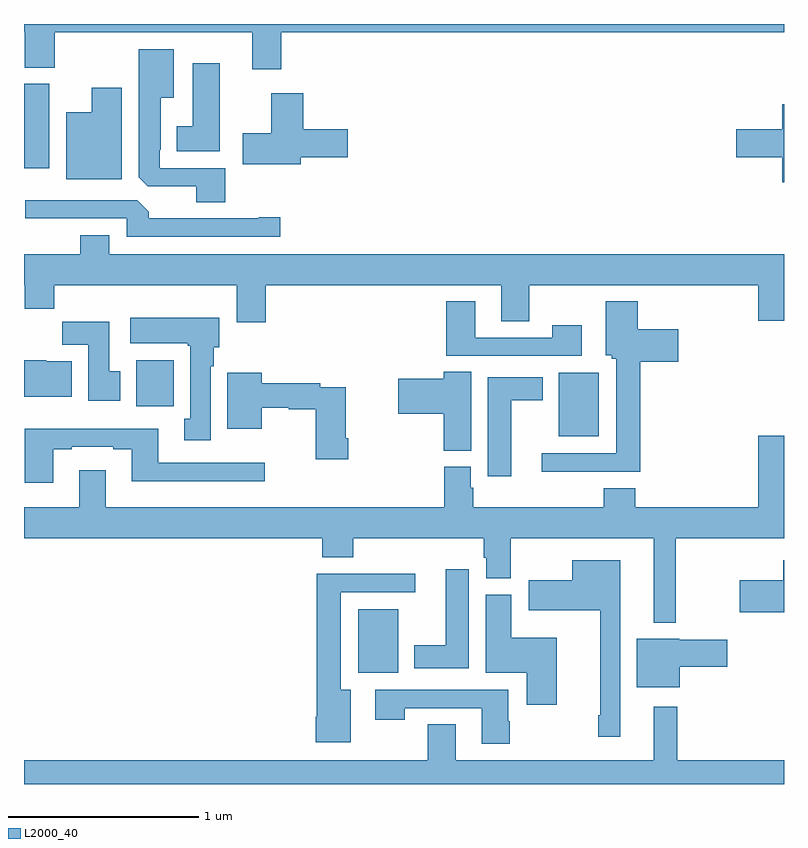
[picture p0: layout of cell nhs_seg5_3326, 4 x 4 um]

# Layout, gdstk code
import gdstk
lib = gdstk.Library(unit=1e-6, precision=1e-09)
def R(c, l, rs):  # rectangles x0, y0, x1, y1
    for r in rs: c.add(gdstk.rectangle(r[:2], r[2:], *l))
def P(c, l, *ps):  # polygons
    for p in ps: c.add(gdstk.Polygon(p, *l))
L2000_40 = (2000, 40)

nhs_seg5_3326 = lib.new_cell('nhs_seg5_3326')
R(nhs_seg5_3326, L2000_40, [(306.758,857.384,306.97,857.719), (307.814,858.629,308.026,858.964), (305.591,858.788,305.788,859.03), (305,860.04,305.134,860.484)])
P(nhs_seg5_3326, L2000_40, [(306.353,860.756),(309,860.756),(309,860.799),(305,860.799),(305,860.756),(305.003,860.756),(305.003,860.569),(305.163,860.569),(305.163,860.756),(306.2,860.756),(306.2,860.562),(306.353,860.562)],
  [(306.059,860.04),(305.715,860.04),(305.715,860.137),(305.719,860.137),(305.719,860.411),(305.788,860.411),(305.788,860.665),(305.603,860.665),(305.603,859.993),(305.652,859.944),(305.906,859.944),(305.906,859.861),(306.059,859.861)],
  [(306.031,860.593),(305.888,860.593),(305.888,860.26),(305.804,860.26),(305.804,860.129),(306.031,860.129)],
  [(305.515,860.464),(305.357,860.464),(305.357,860.335),(305.222,860.335),(305.222,859.982),(305.515,859.982)],
  [(306.457,860.099),(306.703,860.099),(306.703,860.246),(306.47,860.246),(306.47,860.434),(306.302,860.434),(306.302,860.223),(306.15,860.223),(306.15,860.06),(306.457,860.06)],
  [(309,860.377),(308.99,860.377),(308.99,860.246),(308.748,860.246),(308.748,860.099),(308.99,860.099),(308.99,859.967),(309,859.967)],
  [(306.349,859.781),(306.236,859.781),(306.236,859.776),(305.657,859.776),(305.657,859.81),(305.595,859.872),(305.007,859.872),(305.007,859.776),(305.541,859.776),(305.541,859.68),(306.349,859.68)],
  [(306.272,859.424),(307.511,859.424),(307.511,859.234),(307.659,859.234),(307.659,859.424),(308.864,859.424),(308.864,859.236),(309,859.236),(309,859.588),(305.449,859.588),(305.449,859.687),(305.297,859.687),(305.297,859.588),(305,859.588),(305,859.424),(305.003,859.424),(305.003,859.3),(305.159,859.3),(305.159,859.424),(306.119,859.424),(306.119,859.23),(306.272,859.23)],
  [(307.936,859.213),(307.78,859.213),(307.78,859.149),(307.375,859.149),(307.375,859.339),(307.223,859.339),(307.223,859.053),(307.936,859.053)],
  [(308.243,859.022),(308.443,859.022),(308.443,859.192),(308.23,859.192),(308.23,859.339),(308.063,859.339),(308.063,859.056),(308.094,859.056),(308.094,859.038),(308.117,859.038),(308.117,858.54),(307.725,858.54),(307.725,858.443),(308.243,858.443)],
  [(305.983,858.998),(305.998,858.998),(305.998,859.098),(306.028,859.098),(306.028,859.252),(305.559,859.252),(305.559,859.118),(305.863,859.118),(305.863,859.105),(305.876,859.105),(305.876,858.722),(305.843,858.722),(305.843,858.609),(305.983,858.609)],
  [(305.506,858.972),(305.449,858.972),(305.449,859.231),(305.2,859.231),(305.2,859.112),(305.339,859.112),(305.339,858.816),(305.506,858.816)],
  [(305.251,859.024),(305.118,859.024),(305.118,859.03),(305,859.03),(305,858.836),(305.251,858.836)],
  [(307.354,858.968),(307.208,858.968),(307.208,858.932),(306.969,858.932),(306.969,858.749),(307.208,858.749),(307.208,858.553),(307.354,858.553)],
  [(306.707,858.619),(306.694,858.619),(306.694,858.888),(306.56,858.888),(306.56,858.908),(306.25,858.908),(306.25,858.964),(306.071,858.964),(306.071,858.668),(306.25,858.668),(306.25,858.78),(306.393,858.78),(306.393,858.772),(306.536,858.772),(306.536,858.507),(306.707,858.507)],
  [(307.564,858.818),(307.729,858.818),(307.729,858.94),(307.442,858.94),(307.442,858.42),(307.564,858.42)],
  [(305.155,858.561),(305.251,858.561),(305.251,858.573),(305.471,858.573),(305.471,858.561),(305.567,858.561),(305.567,858.392),(306.268,858.392),(306.268,858.489),(305.707,858.489),(305.707,858.67),(305.003,858.67),(305.003,858.384),(305.155,858.384)],
  [(308.315,857.648),(308.429,857.648),(308.429,858.092),(309,858.092),(309,858.631),(308.864,858.631),(308.864,858.256),(308.216,858.256),(308.216,858.355),(308.051,858.355),(308.051,858.256),(307.364,858.256),(307.364,858.357),(307.351,858.357),(307.351,858.468),(307.211,858.468),(307.211,858.256),(305.431,858.256),(305.431,858.451),(305.291,858.451),(305.291,858.256),(305,858.256),(305,858.092),(306.569,858.092),(306.569,857.993),(306.734,857.993),(306.734,858.092),(307.421,858.092),(307.421,857.991),(307.433,857.991),(307.433,857.881),(307.561,857.881),(307.561,858.092),(308.315,858.092)],
  [(308.137,857.977),(307.886,857.977),(307.886,857.872),(307.656,857.872),(307.656,857.714),(308.033,857.714),(308.033,857.161),(308.023,857.161),(308.023,857.049),(308.137,857.049)],
  [(309,857.977),(308.996,857.977),(308.996,857.872),(308.766,857.872),(308.766,857.702),(309,857.702)],
  [(307.342,857.929),(307.22,857.929),(307.22,857.53),(307.055,857.53),(307.055,857.408),(307.342,857.408)],
  [(306.721,857.296),(306.667,857.296),(306.667,857.808),(307.06,857.808),(307.06,857.906),(306.542,857.906),(306.542,857.154),(306.536,857.154),(306.536,857.018),(306.721,857.018)],
  [(307.804,857.569),(307.564,857.569),(307.564,857.796),(307.43,857.796),(307.43,857.384),(307.646,857.384),(307.646,857.217),(307.804,857.217)],
  [(308.452,857.416),(308.701,857.416),(308.701,857.558),(308.448,857.558),(308.448,857.563),(308.225,857.563),(308.225,857.309),(308.452,857.309)],
  [(307.557,857.129),(307.549,857.129),(307.549,857.295),(306.849,857.295),(306.849,857.136),(307.005,857.136),(307.005,857.199),(307.409,857.199),(307.409,857.01),(307.557,857.01)],
  [(309,856.924),(308.437,856.924),(308.437,857.206),(308.315,857.206),(308.315,856.924),(307.273,856.924),(307.273,857.114),(307.126,857.114),(307.126,856.924),(305,856.924),(305,856.799),(309,856.799)])

lib.write_gds('nhs_seg5_3326.gds')
